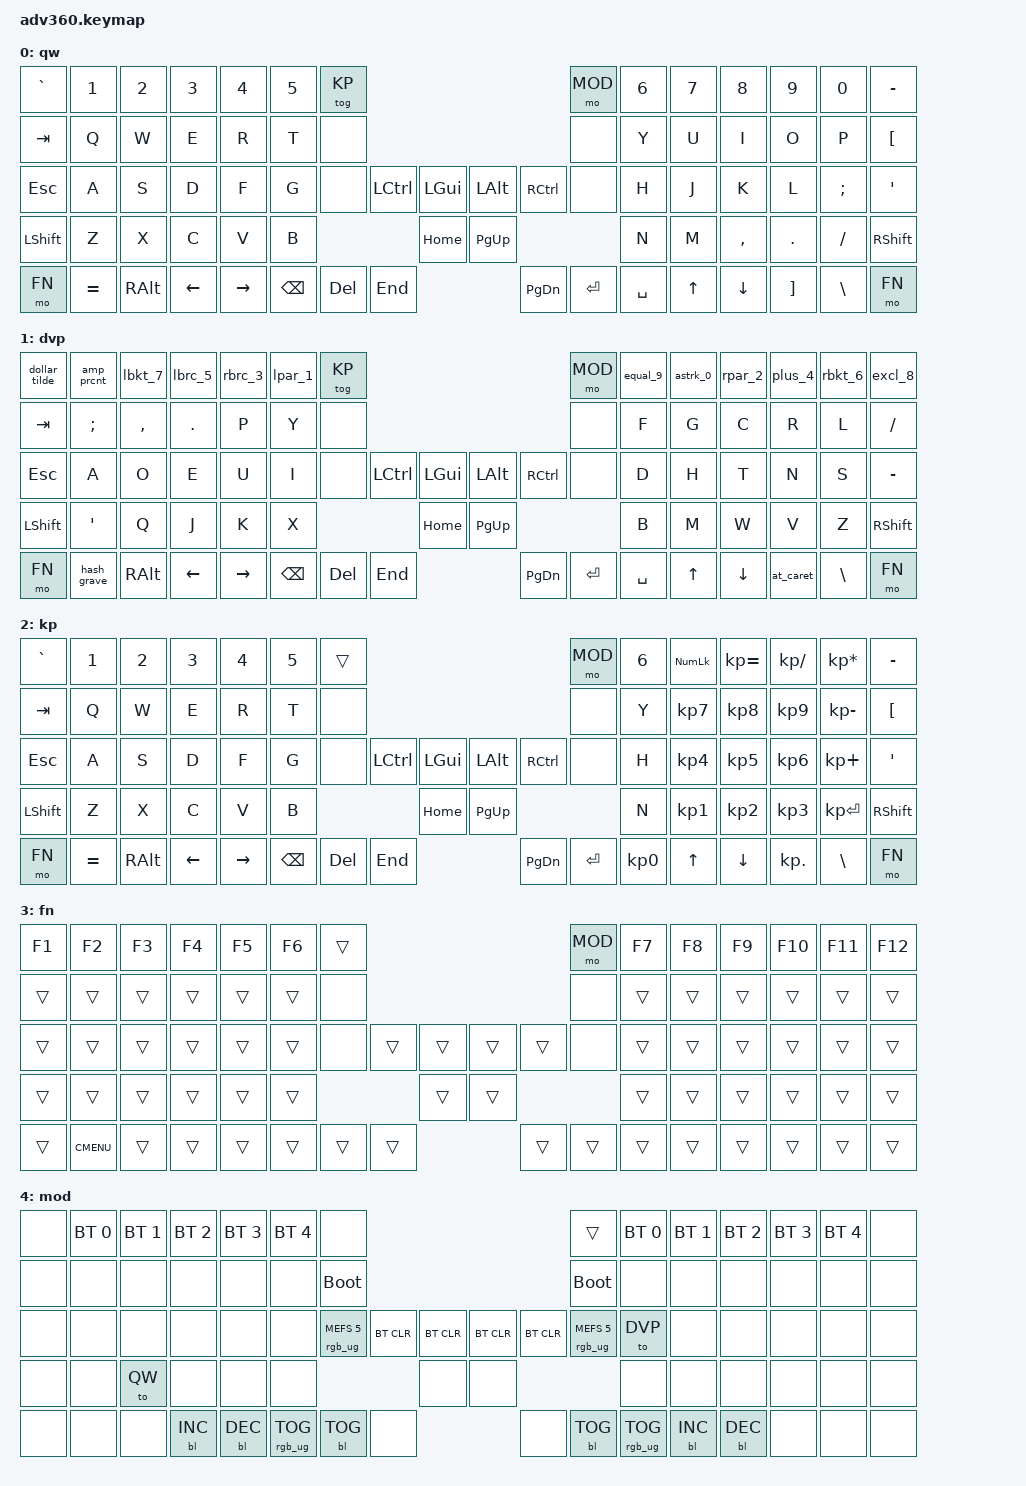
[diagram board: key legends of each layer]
#include <behaviors.dtsi>
#include <dt-bindings/zmk/keys.h>
#include <dt-bindings/zmk/bt.h>
#include <dt-bindings/zmk/rgb.h>
#include <dt-bindings/zmk/backlight.h>

#define QW  0
#define DVP 1
#define KP  2
#define FN  3
#define MOD 4

#define STRINGIFY(x) #x

#define UNSHIFT_1(name, shift, key) \
  name: macro_ ## name { \
    compatible = "zmk,behavior-macro"; \
    label = STRINGIFY(macro_ ## name); \
    #binding-cells = <0>; \
    wait-ms = <10>; \
    bindings = <&macro_release &kp shift ## _SHIFT>, \
               <&macro_tap &kp key>, \
               <&macro_press &kp shift ## _SHIFT>; \
  }

#define UNSHIFT(name, key) \
  UNSHIFT_1(lus_ ## name, LEFT, key); \
  UNSHIFT_1(rus_ ## name, RIGHT, key)

#define SHIFT_MORPH_UNSHIFT(name, key, morph) \
  name ## _inner: behavior_ ## name ## _inner { \
    compatible = "zmk,behavior-mod-morph"; \
    label = STRINGIFY(behavior_ ## name ## _inner); \
    #binding-cells = <0>; \
    bindings = <&kp key>, <&rus_ ## morph>; \
    mods = <(MOD_RSFT)>; \
  }; \
  name: behavior_ ## name { \
    compatible = "zmk,behavior-mod-morph"; \
    label = STRINGIFY(behavior_ ## name); \
    #binding-cells = <0>; \
    bindings = <&name ## _inner>, <&lus_ ## morph>; \
    mods = <(MOD_LSFT)>; \
  }

#define SHIFT_MORPH(name, key, morph) \
  name: behavior_ ## name { \
    compatible = "zmk,behavior-mod-morph"; \
    label = STRINGIFY(behavior_ ## name); \
    #binding-cells = <0>; \
    bindings = <&kp key>, <&kp morph>; \
    mods = <(MOD_LSFT|MOD_RSFT)>; \
  }

/ {
  macro {
    UNSHIFT(0, NUMBER_0);
    UNSHIFT(1, NUMBER_1);
    UNSHIFT(2, NUMBER_2);
    UNSHIFT(3, NUMBER_3);
    UNSHIFT(4, NUMBER_4);
    UNSHIFT(5, NUMBER_5);
    UNSHIFT(6, NUMBER_6);
    UNSHIFT(7, NUMBER_7);
    UNSHIFT(8, NUMBER_8);
    UNSHIFT(9, NUMBER_9);
    UNSHIFT(grave, GRAVE);
  };

  behaviors {
    SHIFT_MORPH(dollar_tilde, DOLLAR, TILDE);
    SHIFT_MORPH(amp_prcnt, AMPERSAND, PERCENT);
    SHIFT_MORPH_UNSHIFT(lbkt_7, LEFT_BRACKET, 7);
    SHIFT_MORPH_UNSHIFT(lbrc_5, LEFT_BRACE, 5);
    SHIFT_MORPH_UNSHIFT(rbrc_3, RIGHT_BRACE, 3);
    SHIFT_MORPH_UNSHIFT(lpar_1, LEFT_PARENTHESIS, 1);
    SHIFT_MORPH_UNSHIFT(equal_9, EQUAL, 9);
    SHIFT_MORPH_UNSHIFT(astrk_0, ASTERISK, 0);
    SHIFT_MORPH_UNSHIFT(rpar_2, RIGHT_PARENTHESIS, 2);
    SHIFT_MORPH_UNSHIFT(plus_4, PLUS, 4);
    SHIFT_MORPH_UNSHIFT(rbkt_6, RIGHT_BRACKET, 6);
    SHIFT_MORPH_UNSHIFT(excl_8, EXCLAMATION, 8);
    SHIFT_MORPH_UNSHIFT(hash_grave, HASH, grave);
    SHIFT_MORPH(at_caret, AT_SIGN, CARET);
  };

  combos {
    compatible = "zmk,combos";

    combo_caps {
      key-positions = <46 59>;
      bindings = <&kp CAPS>;
    };
  };

  keymap {
    compatible = "zmk,keymap";

    qw {
      bindings = <
    // |----------------|--------------|------------|------------|------------|------------|----------------------|                                                                                           |----------------------|------------|------------|------------|-------------|---------------|-----------|
        &kp GRAVE        &kp N1         &kp N2       &kp N3       &kp N4       &kp N5       &tog KP                                                                                                            &mo MOD                &kp N6       &kp N7       &kp N8       &kp N9        &kp N0          &kp MINUS
    // |----------------|--------------|------------|------------|------------|------------|----------------------|                                                                                           |----------------------|------------|------------|------------|-------------|---------------|-----------|
        &kp TAB          &kp Q          &kp W        &kp E        &kp R        &kp T        &none                                                                                                              &none                  &kp Y        &kp U        &kp I        &kp O         &kp P           &kp LBKT
    // |----------------|--------------|------------|------------|------------|------------|----------------------|                 |----------|----------|           |----------|----------|                 |----------------------|------------|------------|------------|-------------|---------------|-----------|
        &kp ESC          &kp A          &kp S        &kp D        &kp F        &kp G        &none                                    &kp LCTRL  &kp LGUI               &kp LALT   &kp RCTRL                    &none                  &kp H        &kp J        &kp K        &kp L         &kp SEMI        &kp QUOT
    // |----------------|--------------|------------|------------|------------|------------|----------------------| |---------------|----------|----------|           |----------|----------|---------------| |----------------------|------------|------------|------------|-------------|---------------|-----------|
        &kp LSHFT        &kp Z          &kp X        &kp C        &kp V        &kp B                                                            &kp HOME               &kp PG_UP                                                      &kp N        &kp M        &kp COMMA    &kp DOT       &kp SLASH       &kp RSHFT
    // |----------------|--------------|------------|------------|------------|------------|                        |               |          |----------|           |----------|          |               |                        |------------|------------|------------|-------------|---------------|-----------|
        &mo FN           &kp EQUAL      &kp RALT     &kp LEFT     &kp RIGHT                                          &kp BSPC        &kp DEL    &kp END                &kp PG_DN  &kp ENTER  &kp SPACE                                             &kp UP       &kp DOWN     &kp RBKT      &kp BACKSLASH   &mo FN
    // |----------------|--------------|------------|------------|------------|                                     |---------------|----------|----------|           |----------|----------|---------------|                                     |------------|------------|-------------|---------------|-----------|
      >;
    };

    dvp {
      bindings = <
    // |----------------|--------------|------------|------------|------------|------------|----------------------|                                                                                           |----------------------|------------|------------|------------|-------------|---------------|-----------|
        &dollar_tilde    &amp_prcnt     &lbkt_7      &lbrc_5      &rbrc_3      &lpar_1      &tog KP                                                                                                            &mo MOD                &equal_9     &astrk_0     &rpar_2      &plus_4       &rbkt_6         &excl_8
    // |----------------|--------------|------------|------------|------------|------------|----------------------|                                                                                           |----------------------|------------|------------|------------|-------------|---------------|-----------|
        &kp TAB          &kp SEMI       &kp COMMA    &kp DOT      &kp P        &kp Y        &none                                                                                                              &none                  &kp F        &kp G        &kp C        &kp R         &kp L           &kp SLASH
    // |----------------|--------------|------------|------------|------------|------------|----------------------|                 |----------|----------|           |----------|----------|                 |----------------------|------------|------------|------------|-------------|---------------|-----------|
        &kp ESC          &kp A          &kp O        &kp E        &kp U        &kp I        &none                                    &kp LCTRL  &kp LGUI               &kp LALT   &kp RCTRL                    &none                  &kp D        &kp H        &kp T        &kp N         &kp S           &kp MINUS
    // |----------------|--------------|------------|------------|------------|------------|----------------------| |---------------|----------|----------|           |----------|----------|---------------| |----------------------|------------|------------|------------|-------------|---------------|-----------|
        &kp LSHFT        &kp QUOT       &kp Q        &kp J        &kp K        &kp X                                                            &kp HOME               &kp PG_UP                                                      &kp B        &kp M        &kp W        &kp V         &kp Z           &kp RSHFT
    // |----------------|--------------|------------|------------|------------|------------|                        |               |          |----------|           |----------|          |               |                        |------------|------------|------------|-------------|---------------|-----------|
        &mo FN           &hash_grave    &kp RALT     &kp LEFT     &kp RIGHT                                          &kp BSPC        &kp DEL    &kp END                &kp PG_DN  &kp ENTER  &kp SPACE                                             &kp UP       &kp DOWN     &at_caret     &kp BACKSLASH   &mo FN
    // |----------------|--------------|------------|------------|------------|                                     |---------------|----------|----------|           |----------|----------|---------------|                                     |------------|------------|-------------|---------------|-----------|
      >;
    };

    kp {
      bindings = <
    // |----------------|--------------|------------|------------|------------|------------|----------------------|                                                                                           |----------------------|------------|------------|------------|-------------|---------------|-----------|
        &kp GRAVE        &kp N1         &kp N2       &kp N3       &kp N4       &kp N5       &trans                                                                                                             &mo MOD                &kp N6       &kp KP_NUM   &kp KP_EQUAL &kp KP_DIVIDE &kp KP_MULTIPLY &kp MINUS
    // |----------------|--------------|------------|------------|------------|------------|----------------------|                                                                                           |----------------------|------------|------------|------------|-------------|---------------|-----------|
        &kp TAB          &kp Q          &kp W        &kp E        &kp R        &kp T        &none                                                                                                              &none                  &kp Y        &kp KP_N7    &kp KP_N8    &kp KP_N9     &kp KP_MINUS    &kp LBKT
    // |----------------|--------------|------------|------------|------------|------------|----------------------|                 |----------|----------|           |----------|----------|                 |----------------------|------------|------------|------------|-------------|---------------|-----------|
        &kp ESC          &kp A          &kp S        &kp D        &kp F        &kp G        &none                                    &kp LCTRL  &kp LGUI               &kp LALT   &kp RCTRL                    &none                  &kp H        &kp KP_N4    &kp KP_N5    &kp KP_N6     &kp KP_PLUS     &kp QUOT
    // |----------------|--------------|------------|------------|------------|------------|----------------------| |---------------|----------|----------|           |----------|----------|---------------| |----------------------|------------|------------|------------|-------------|---------------|-----------|
        &kp LSHFT        &kp Z          &kp X        &kp C        &kp V        &kp B                                                            &kp HOME               &kp PG_UP                                                      &kp N        &kp KP_N1    &kp KP_N2    &kp KP_N3     &kp KP_ENTER    &kp RSHFT
    // |----------------|--------------|------------|------------|------------|------------|                        |               |          |----------|           |----------|          |               |                        |------------|------------|------------|-------------|---------------|-----------|
        &mo FN           &kp EQUAL      &kp RALT     &kp LEFT     &kp RIGHT                                          &kp BSPC        &kp DEL    &kp END                &kp PG_DN  &kp ENTER  &kp KP_N0                                             &kp UP       &kp DOWN     &kp KP_DOT    &kp BACKSLASH   &mo FN
    // |----------------|--------------|------------|------------|------------|                                     |---------------|----------|----------|           |----------|----------|---------------|                                     |------------|------------|-------------|---------------|-----------|
      >;
    };

    fn {
      bindings = <
    // |----------------|--------------|------------|------------|------------|------------|----------------------|                                                                                           |----------------------|------------|------------|------------|-------------|---------------|-----------|
        &kp F1           &kp F2         &kp F3       &kp F4       &kp F5       &kp F6       &trans                                                                                                             &mo MOD                &kp F7       &kp F8       &kp F9       &kp F10       &kp F11         &kp F12
    // |----------------|--------------|------------|------------|------------|------------|----------------------|                                                                                           |----------------------|------------|------------|------------|-------------|---------------|-----------|
        &trans           &trans         &trans       &trans       &trans       &trans       &none                                                                                                              &none                  &trans       &trans       &trans       &trans        &trans          &trans
    // |----------------|--------------|------------|------------|------------|------------|----------------------|                 |----------|----------|           |----------|----------|                 |----------------------|------------|------------|------------|-------------|---------------|-----------|
        &trans           &trans         &trans       &trans       &trans       &trans       &none                                    &trans     &trans                 &trans     &trans                       &none                  &trans       &trans       &trans       &trans        &trans          &trans
    // |----------------|--------------|------------|------------|------------|------------|----------------------| |---------------|----------|----------|           |----------|----------|---------------| |----------------------|------------|------------|------------|-------------|---------------|-----------|
        &trans           &trans         &trans       &trans       &trans       &trans                                                           &trans                 &trans                                                         &trans       &trans       &trans       &trans        &trans          &trans
    // |----------------|--------------|------------|------------|------------|------------|                        |               |          |----------|           |----------|          |               |                        |------------|------------|------------|-------------|---------------|-----------|
        &trans           &kp K_CMENU    &trans       &trans       &trans                                             &trans          &trans     &trans                 &trans     &trans     &trans                                                &trans       &trans       &trans        &trans          &trans
    // |----------------|--------------|------------|------------|------------|                                     |---------------|----------|----------|           |----------|----------|---------------|                                     |------------|------------|-------------|---------------|-----------|
      >;
    };

    mod {
      bindings = <
    // |----------------|--------------|------------|------------|------------|------------|----------------------|                                                                                           |----------------------|------------|------------|------------|-------------|---------------|-----------|
        &none            &bt BT_SEL 0   &bt BT_SEL 1 &bt BT_SEL 2 &bt BT_SEL 3 &bt BT_SEL 4 &none                                                                                                              &trans                 &bt BT_SEL 0 &bt BT_SEL 1 &bt BT_SEL 2 &bt BT_SEL 3  &bt BT_SEL 4    &none
    // |----------------|--------------|------------|------------|------------|------------|----------------------|                                                                                           |----------------------|------------|------------|------------|-------------|---------------|-----------|
        &none            &none          &none        &none        &none        &none        &bootloader                                                                                                        &bootloader            &none        &none        &none        &none         &none           &none
    // |----------------|--------------|------------|------------|------------|------------|----------------------|                 |----------|----------|           |----------|----------|                 |----------------------|------------|------------|------------|-------------|---------------|-----------|
        &none            &none          &none        &none        &none        &none        &rgb_ug RGB_MEFS_CMD 5                   &bt BT_CLR &bt BT_CLR             &bt BT_CLR &bt BT_CLR                   &rgb_ug RGB_MEFS_CMD 5 &to DVP      &none        &none        &none         &none           &none
    // |----------------|--------------|------------|------------|------------|------------|----------------------| |---------------|----------|----------|           |----------|----------|---------------| |----------------------|------------|------------|------------|-------------|---------------|-----------|
        &none            &none          &to QW       &none        &none        &none                                                            &none                  &none                                                          &none        &none        &none        &none         &none           &none
    // |----------------|--------------|------------|------------|------------|------------|                        |               |          |----------|           |----------|          |               |                        |------------|------------|------------|-------------|---------------|-----------|
        &none            &none          &none        &bl BL_INC   &bl BL_DEC                                         &rgb_ug RGB_TOG &bl BL_TOG &none                  &none      &bl BL_TOG &rgb_ug RGB_TOG                                       &bl BL_INC   &bl BL_DEC   &none         &none           &none
    // |----------------|--------------|------------|------------|------------|                                     |---------------|----------|----------|           |----------|----------|---------------|                                     |------------|------------|-------------|---------------|-----------|
      >;
    };
  };
};
